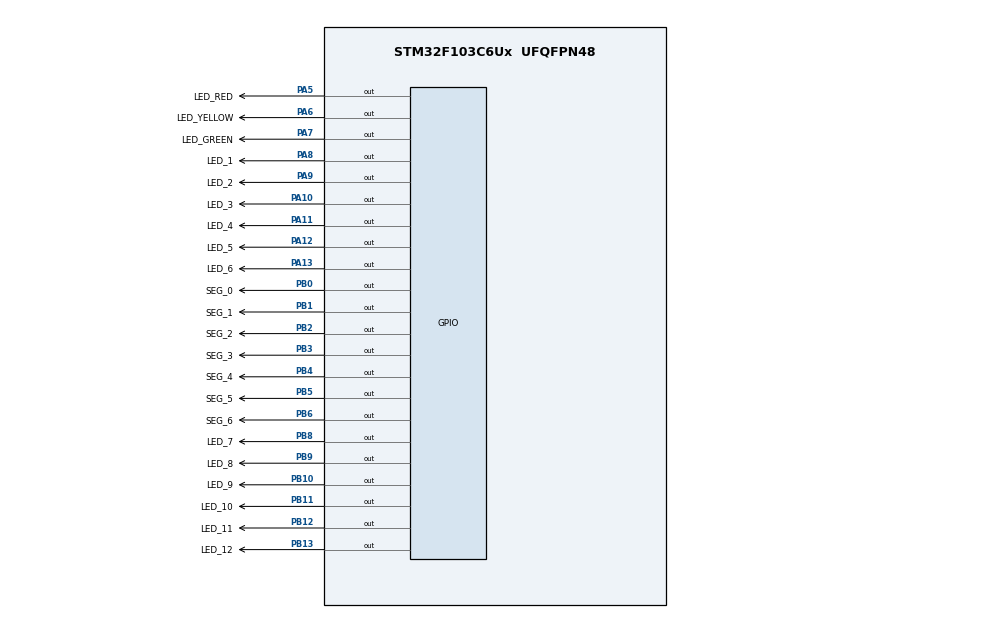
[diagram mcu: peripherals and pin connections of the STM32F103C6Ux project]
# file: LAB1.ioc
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Mcu.Family=STM32F1
Mcu.Name=STM32F103C6Ux
Mcu.Package=UFQFPN48
NVIC.PriorityGroup=NVIC_PRIORITYGROUP_4
PA10.GPIO_Label=LED_3
PA10.Signal=GPIO_Output
PA11.GPIO_Label=LED_4
PA11.Signal=GPIO_Output
PA12.GPIO_Label=LED_5
PA12.Signal=GPIO_Output
PA13.GPIO_Label=LED_6
PA13.Signal=GPIO_Output
PA5.GPIO_Label=LED_RED
PA5.Signal=GPIO_Output
PA6.GPIO_Label=LED_YELLOW
PA6.Signal=GPIO_Output
PA7.GPIO_Label=LED_GREEN
PA7.Signal=GPIO_Output
PA8.GPIO_Label=LED_1
PA8.Signal=GPIO_Output
PA9.GPIO_Label=LED_2
PA9.Signal=GPIO_Output
PB0.GPIO_Label=SEG_0
PB0.Signal=GPIO_Output
PB1.GPIO_Label=SEG_1
PB1.Signal=GPIO_Output
PB10.GPIO_Label=LED_9
PB10.Signal=GPIO_Output
PB11.GPIO_Label=LED_10
PB11.Signal=GPIO_Output
PB12.GPIO_Label=LED_11
PB12.Signal=GPIO_Output
PB13.GPIO_Label=LED_12
PB13.Signal=GPIO_Output
PB2.GPIO_Label=SEG_2
PB2.Signal=GPIO_Output
PB3.GPIO_Label=SEG_3
PB3.Signal=GPIO_Output
PB4.GPIO_Label=SEG_4
PB4.Signal=GPIO_Output
PB5.GPIO_Label=SEG_5
PB5.Signal=GPIO_Output
PB6.GPIO_Label=SEG_6
PB6.Signal=GPIO_Output
PB8.GPIO_Label=LED_7
PB8.Signal=GPIO_Output
PB9.GPIO_Label=LED_8
PB9.Signal=GPIO_Output
ProjectManager.HeapSize=0x200
ProjectManager.StackSize=0x400
ProjectManager.TargetToolchain=STM32CubeIDE
RCC.APB1Freq_Value=8000000
RCC.APB2Freq_Value=8000000
VP_SYS_VS_ND.Mode=No_Debug
board=custom

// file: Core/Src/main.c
/* USER CODE BEGIN Header */
/**
  ******************************************************************************
  * @file           : main.c
  * @brief          : Main program body
  ******************************************************************************
  * @attention
  *
  * <h2><center>&copy; Copyright (c) 2024 STMicroelectronics.
  * All rights reserved.</center></h2>
  *
  * This software component is licensed by ST under BSD 3-Clause license,
  * the "License"; You may not use this file except in compliance with the
  * License. You may obtain a copy of the License at:
  *                        opensource.org/licenses/BSD-3-Clause
  *
  ******************************************************************************
  */
/* USER CODE END Header */
#include "main.h"

void SystemClock_Config(void);
static void MX_GPIO_Init(void);

/* USER CODE BEGIN 0 */
void display7SEG(int num){
	switch (num) {
	case 0:
				HAL_GPIO_WritePin(SEG_0_GPIO_Port, SEG_0_Pin, GPIO_PIN_RESET);
				HAL_GPIO_WritePin(SEG_1_GPIO_Port, SEG_1_Pin, GPIO_PIN_RESET);
				HAL_GPIO_WritePin(SEG_2_GPIO_Port, SEG_2_Pin, GPIO_PIN_RESET);
				HAL_GPIO_WritePin(SEG_3_GPIO_Port, SEG_3_Pin, GPIO_PIN_RESET);
				HAL_GPIO_WritePin(SEG_4_GPIO_Port, SEG_4_Pin, GPIO_PIN_RESET);
				HAL_GPIO_WritePin(SEG_5_GPIO_Port, SEG_5_Pin, GPIO_PIN_RESET);
				HAL_GPIO_WritePin(SEG_6_GPIO_Port, SEG_6_Pin, GPIO_PIN_SET);
				break;
	case 1:
				HAL_GPIO_WritePin(SEG_0_GPIO_Port, SEG_0_Pin, GPIO_PIN_SET);
				HAL_GPIO_WritePin(SEG_1_GPIO_Port, SEG_1_Pin, GPIO_PIN_RESET);
				HAL_GPIO_WritePin(SEG_2_GPIO_Port, SEG_2_Pin, GPIO_PIN_RESET);
				HAL_GPIO_WritePin(SEG_3_GPIO_Port, SEG_3_Pin, GPIO_PIN_SET);
				HAL_GPIO_WritePin(SEG_4_GPIO_Port, SEG_4_Pin, GPIO_PIN_SET);
				HAL_GPIO_WritePin(SEG_5_GPIO_Port, SEG_5_Pin, GPIO_PIN_SET);
				HAL_GPIO_WritePin(SEG_6_GPIO_Port, SEG_6_Pin, GPIO_PIN_SET);
				break;
	case 2:
				HAL_GPIO_WritePin(SEG_0_GPIO_Port, SEG_0_Pin, GPIO_PIN_RESET);
				HAL_GPIO_WritePin(SEG_1_GPIO_Port, SEG_1_Pin, GPIO_PIN_RESET);
				HAL_GPIO_WritePin(SEG_2_GPIO_Port, SEG_2_Pin, GPIO_PIN_SET);
				HAL_GPIO_WritePin(SEG_3_GPIO_Port, SEG_3_Pin, GPIO_PIN_RESET);
				HAL_GPIO_WritePin(SEG_4_GPIO_Port, SEG_4_Pin, GPIO_PIN_RESET);
				HAL_GPIO_WritePin(SEG_5_GPIO_Port, SEG_5_Pin, GPIO_PIN_SET);
				HAL_GPIO_WritePin(SEG_6_GPIO_Port, SEG_6_Pin, GPIO_PIN_RESET);
				break;
	case 3:
				HAL_GPIO_WritePin(SEG_0_GPIO_Port, SEG_0_Pin, GPIO_PIN_RESET);
				HAL_GPIO_WritePin(SEG_1_GPIO_Port, SEG_1_Pin, GPIO_PIN_RESET);
				HAL_GPIO_WritePin(SEG_2_GPIO_Port, SEG_2_Pin, GPIO_PIN_RESET);
				HAL_GPIO_WritePin(SEG_3_GPIO_Port, SEG_3_Pin, GPIO_PIN_RESET);
				HAL_GPIO_WritePin(SEG_4_GPIO_Port, SEG_4_Pin, GPIO_PIN_SET);
				HAL_GPIO_WritePin(SEG_5_GPIO_Port, SEG_5_Pin, GPIO_PIN_SET);
				HAL_GPIO_WritePin(SEG_6_GPIO_Port, SEG_6_Pin, GPIO_PIN_RESET);
				break;
	case 4:
				HAL_GPIO_WritePin(SEG_0_GPIO_Port, SEG_0_Pin, GPIO_PIN_SET);
				HAL_GPIO_WritePin(SEG_1_GPIO_Port, SEG_1_Pin, GPIO_PIN_RESET);
				HAL_GPIO_WritePin(SEG_2_GPIO_Port, SEG_2_Pin, GPIO_PIN_RESET);
				HAL_GPIO_WritePin(SEG_3_GPIO_Port, SEG_3_Pin, GPIO_PIN_SET);
				HAL_GPIO_WritePin(SEG_4_GPIO_Port, SEG_4_Pin, GPIO_PIN_SET);
				HAL_GPIO_WritePin(SEG_5_GPIO_Port, SEG_5_Pin, GPIO_PIN_RESET);
				HAL_GPIO_WritePin(SEG_6_GPIO_Port, SEG_6_Pin, GPIO_PIN_RESET);
				break;
	case 5:
				HAL_GPIO_WritePin(SEG_0_GPIO_Port, SEG_0_Pin, GPIO_PIN_RESET);
				HAL_GPIO_WritePin(SEG_1_GPIO_Port, SEG_1_Pin, GPIO_PIN_SET);
				HAL_GPIO_WritePin(SEG_2_GPIO_Port, SEG_2_Pin, GPIO_PIN_RESET);
				HAL_GPIO_WritePin(SEG_3_GPIO_Port, SEG_3_Pin, GPIO_PIN_RESET);
				HAL_GPIO_WritePin(SEG_4_GPIO_Port, SEG_4_Pin, GPIO_PIN_SET);
				HAL_GPIO_WritePin(SEG_5_GPIO_Port, SEG_5_Pin, GPIO_PIN_RESET);
				HAL_GPIO_WritePin(SEG_6_GPIO_Port, SEG_6_Pin, GPIO_PIN_RESET);
				break;
	case 6:
				HAL_GPIO_WritePin(SEG_0_GPIO_Port, SEG_0_Pin, GPIO_PIN_RESET);
				HAL_GPIO_WritePin(SEG_1_GPIO_Port, SEG_1_Pin, GPIO_PIN_SET);
				HAL_GPIO_WritePin(SEG_2_GPIO_Port, SEG_2_Pin, GPIO_PIN_RESET);
				HAL_GPIO_WritePin(SEG_3_GPIO_Port, SEG_3_Pin, GPIO_PIN_RESET);
				HAL_GPIO_WritePin(SEG_4_GPIO_Port, SEG_4_Pin, GPIO_PIN_RESET);
				HAL_GPIO_WritePin(SEG_5_GPIO_Port, SEG_5_Pin, GPIO_PIN_RESET);
				HAL_GPIO_WritePin(SEG_6_GPIO_Port, SEG_6_Pin, GPIO_PIN_RESET);
				break;
	case 7:
				HAL_GPIO_WritePin(SEG_0_GPIO_Port, SEG_0_Pin, GPIO_PIN_RESET);
				HAL_GPIO_WritePin(SEG_1_GPIO_Port, SEG_1_Pin, GPIO_PIN_RESET);
				HAL_GPIO_WritePin(SEG_2_GPIO_Port, SEG_2_Pin, GPIO_PIN_RESET);
				HAL_GPIO_WritePin(SEG_3_GPIO_Port, SEG_3_Pin, GPIO_PIN_SET);
				HAL_GPIO_WritePin(SEG_4_GPIO_Port, SEG_4_Pin, GPIO_PIN_SET);
				HAL_GPIO_WritePin(SEG_5_GPIO_Port, SEG_5_Pin, GPIO_PIN_SET);
				HAL_GPIO_WritePin(SEG_6_GPIO_Port, SEG_6_Pin, GPIO_PIN_SET);
				break;
	case 8:
				HAL_GPIO_WritePin(SEG_0_GPIO_Port, SEG_0_Pin, GPIO_PIN_RESET);
				HAL_GPIO_WritePin(SEG_1_GPIO_Port, SEG_1_Pin, GPIO_PIN_RESET);
				HAL_GPIO_WritePin(SEG_2_GPIO_Port, SEG_2_Pin, GPIO_PIN_RESET);
				HAL_GPIO_WritePin(SEG_3_GPIO_Port, SEG_3_Pin, GPIO_PIN_RESET);
				HAL_GPIO_WritePin(SEG_4_GPIO_Port, SEG_4_Pin, GPIO_PIN_RESET);
				HAL_GPIO_WritePin(SEG_5_GPIO_Port, SEG_5_Pin, GPIO_PIN_RESET);
				HAL_GPIO_WritePin(SEG_6_GPIO_Port, SEG_6_Pin, GPIO_PIN_RESET);
				break;
	case 9:
				HAL_GPIO_WritePin(SEG_0_GPIO_Port, SEG_0_Pin, GPIO_PIN_RESET);
				HAL_GPIO_WritePin(SEG_1_GPIO_Port, SEG_1_Pin, GPIO_PIN_RESET);
				HAL_GPIO_WritePin(SEG_2_GPIO_Port, SEG_2_Pin, GPIO_PIN_RESET);
				HAL_GPIO_WritePin(SEG_3_GPIO_Port, SEG_3_Pin, GPIO_PIN_RESET);
				HAL_GPIO_WritePin(SEG_4_GPIO_Port, SEG_4_Pin, GPIO_PIN_SET);
				HAL_GPIO_WritePin(SEG_5_GPIO_Port, SEG_5_Pin, GPIO_PIN_RESET);
				HAL_GPIO_WritePin(SEG_6_GPIO_Port, SEG_6_Pin, GPIO_PIN_RESET);
				break;
	default:
				HAL_GPIO_WritePin(SEG_0_GPIO_Port, SEG_0_Pin, GPIO_PIN_SET);
				HAL_GPIO_WritePin(SEG_1_GPIO_Port, SEG_1_Pin, GPIO_PIN_SET);
				HAL_GPIO_WritePin(SEG_2_GPIO_Port, SEG_2_Pin, GPIO_PIN_SET);
				HAL_GPIO_WritePin(SEG_3_GPIO_Port, SEG_3_Pin, GPIO_PIN_SET);
				HAL_GPIO_WritePin(SEG_4_GPIO_Port, SEG_4_Pin, GPIO_PIN_SET);
				HAL_GPIO_WritePin(SEG_5_GPIO_Port, SEG_5_Pin, GPIO_PIN_SET);
				HAL_GPIO_WritePin(SEG_6_GPIO_Port, SEG_6_Pin, GPIO_PIN_SET);
				break;
	}
}
/* USER CODE END 0 */

int main(void)
{
  /* USER CODE BEGIN 1 */

	int red_time = 5;
	int green_time = 3;
	int yellow_time = 2;
	int counter = red_time;
	int cnt = 0;
  /* USER CODE END 1 */

  /* MCU Configuration--------------------------------------------------------*/

  /* Reset of all peripherals, Initializes the Flash interface and the Systick. */
  HAL_Init();

  /* Configure the system clock */
  SystemClock_Config();

  /* Initialize all configured peripherals */
  MX_GPIO_Init();

  /* Infinite loop */
  /* USER CODE BEGIN WHILE */
  while (1)
  {
	  switch(cnt) {
	  	  	  case 0:
	  	  		  // "-"Ways
	  	  		  HAL_GPIO_WritePin(LED_8_GPIO_Port, LED_8_Pin, GPIO_PIN_SET);
	  	  		  HAL_GPIO_WritePin(LED_9_GPIO_Port, LED_9_Pin, GPIO_PIN_SET);
	  	  		  HAL_GPIO_WritePin(LED_10_GPIO_Port, LED_10_Pin, GPIO_PIN_RESET);
	  	  		  HAL_GPIO_WritePin(LED_2_GPIO_Port, LED_2_Pin, GPIO_PIN_SET);
	  			  HAL_GPIO_WritePin(LED_3_GPIO_Port, LED_3_Pin, GPIO_PIN_SET);
	  			  HAL_GPIO_WritePin(LED_4_GPIO_Port, LED_4_Pin, GPIO_PIN_RESET);
	  	  		  // "|"Ways
	  	  		  HAL_GPIO_WritePin(LED_11_GPIO_Port, LED_11_Pin, GPIO_PIN_RESET);
	  	  		  HAL_GPIO_WritePin(LED_12_GPIO_Port, LED_12_Pin, GPIO_PIN_SET);
	  	  		  HAL_GPIO_WritePin(LED_1_GPIO_Port, LED_1_Pin, GPIO_PIN_SET);

	  	  		  HAL_GPIO_WritePin(LED_5_GPIO_Port, LED_5_Pin, GPIO_PIN_RESET);
	  			  HAL_GPIO_WritePin(LED_6_GPIO_Port, LED_6_Pin, GPIO_PIN_SET);
	  			  HAL_GPIO_WritePin(LED_7_GPIO_Port, LED_7_Pin, GPIO_PIN_SET);

	  	  		  break;
	  	  	  case 1:
	  	  		  // "-"Ways
	  	  		  HAL_GPIO_WritePin(LED_8_GPIO_Port, LED_8_Pin, GPIO_PIN_SET);
	  	  		  HAL_GPIO_WritePin(LED_9_GPIO_Port, LED_9_Pin, GPIO_PIN_RESET);
	  	  		  HAL_GPIO_WritePin(LED_10_GPIO_Port, LED_10_Pin, GPIO_PIN_SET);

	  	  		  HAL_GPIO_WritePin(LED_2_GPIO_Port, LED_2_Pin, GPIO_PIN_SET);
	  			  HAL_GPIO_WritePin(LED_3_GPIO_Port, LED_3_Pin, GPIO_PIN_RESET);
	  			  HAL_GPIO_WritePin(LED_4_GPIO_Port, LED_4_Pin, GPIO_PIN_SET);
	  	  		  // "|"Ways
	  	  		  HAL_GPIO_WritePin(LED_11_GPIO_Port, LED_11_Pin, GPIO_PIN_RESET);
	  	  		  HAL_GPIO_WritePin(LED_12_GPIO_Port, LED_12_Pin, GPIO_PIN_SET);
	  	  		  HAL_GPIO_WritePin(LED_1_GPIO_Port, LED_1_Pin, GPIO_PIN_SET);

	  	  		  HAL_GPIO_WritePin(LED_5_GPIO_Port, LED_5_Pin, GPIO_PIN_RESET);
	  			  HAL_GPIO_WritePin(LED_6_GPIO_Port, LED_6_Pin, GPIO_PIN_SET);
	  			  HAL_GPIO_WritePin(LED_7_GPIO_Port, LED_7_Pin, GPIO_PIN_SET);

	  	  		  break;
	  	  	  case 2:
	  	  		  // "-"Ways
	  	  		  HAL_GPIO_WritePin(LED_8_GPIO_Port, LED_8_Pin, GPIO_PIN_RESET);
	  	  		  HAL_GPIO_WritePin(LED_9_GPIO_Port, LED_9_Pin, GPIO_PIN_SET);
	  	  		  HAL_GPIO_WritePin(LED_10_GPIO_Port, LED_10_Pin, GPIO_PIN_SET);

	  	  		  HAL_GPIO_WritePin(LED_2_GPIO_Port, LED_2_Pin, GPIO_PIN_RESET);
	  			  HAL_GPIO_WritePin(LED_3_GPIO_Port, LED_3_Pin, GPIO_PIN_SET);
	  			  HAL_GPIO_WritePin(LED_4_GPIO_Port, LED_4_Pin, GPIO_PIN_SET);
	  	  		  // "|"Ways
	  	  		  HAL_GPIO_WritePin(LED_11_GPIO_Port, LED_11_Pin, GPIO_PIN_SET);
	  	  		  HAL_GPIO_WritePin(LED_12_GPIO_Port, LED_12_Pin, GPIO_PIN_SET);
	  	  		  HAL_GPIO_WritePin(LED_1_GPIO_Port, LED_1_Pin, GPIO_PIN_RESET);

	  	  		  HAL_GPIO_WritePin(LED_5_GPIO_Port, LED_5_Pin, GPIO_PIN_SET);
	  			  HAL_GPIO_WritePin(LED_6_GPIO_Port, LED_6_Pin, GPIO_PIN_SET);
	  			  HAL_GPIO_WritePin(LED_7_GPIO_Port, LED_7_Pin, GPIO_PIN_RESET);

	  	  		  break;
	  	  	  case 3:
	  	  		  // "-"Ways
	  	  		  HAL_GPIO_WritePin(LED_8_GPIO_Port, LED_8_Pin, GPIO_PIN_RESET);
	  	  		  HAL_GPIO_WritePin(LED_9_GPIO_Port, LED_9_Pin, GPIO_PIN_SET);
	  	  		  HAL_GPIO_WritePin(LED_10_GPIO_Port, LED_10_Pin, GPIO_PIN_SET);

	  	  		  HAL_GPIO_WritePin(LED_2_GPIO_Port, LED_2_Pin, GPIO_PIN_RESET);
	  			  HAL_GPIO_WritePin(LED_3_GPIO_Port, LED_3_Pin, GPIO_PIN_SET);
	  			  HAL_GPIO_WritePin(LED_4_GPIO_Port, LED_4_Pin, GPIO_PIN_SET);

	  	  		  // "|"Ways
	  	  		  HAL_GPIO_WritePin(LED_11_GPIO_Port, LED_11_Pin, GPIO_PIN_SET);
	  	  		  HAL_GPIO_WritePin(LED_12_GPIO_Port, LED_12_Pin, GPIO_PIN_RESET);
	  	  		  HAL_GPIO_WritePin(LED_1_GPIO_Port, LED_1_Pin, GPIO_PIN_SET);

	  	  		  HAL_GPIO_WritePin(LED_5_GPIO_Port, LED_5_Pin, GPIO_PIN_SET);
	  			  HAL_GPIO_WritePin(LED_6_GPIO_Port, LED_6_Pin, GPIO_PIN_RESET);
	  			  HAL_GPIO_WritePin(LED_7_GPIO_Port, LED_7_Pin, GPIO_PIN_SET);

	  	  		  break;
	  	  	  default:
	  	  		  cnt = 0;
	  	  		  counter = red_time;
	  	  	  }
	  if (cnt == 0 && counter >= green_time) {
		  counter = green_time;
	  }
	  else if (cnt == 1 && counter >= yellow_time) {
		  counter = yellow_time;
	  }
	  else if (cnt == 2) {
		  if (counter - 1 <= yellow_time) cnt++;
	  }
	  display7SEG(counter--);

	  if (counter == 0) {
		  cnt++;
		  counter = red_time;
	  }
	  if (cnt > 3) {
		  cnt = 0;
	  }

	  HAL_Delay(1000);
    /* USER CODE END WHILE */

  }
}

void SystemClock_Config(void)
{
  RCC_OscInitTypeDef RCC_OscInitStruct = {0};
  RCC_ClkInitTypeDef RCC_ClkInitStruct = {0};

  /** Initializes the RCC Oscillators according to the specified parameters
  * in the RCC_OscInitTypeDef structure.
  */
  RCC_OscInitStruct.OscillatorType = RCC_OSCILLATORTYPE_HSI;
  RCC_OscInitStruct.HSIState = RCC_HSI_ON;
  RCC_OscInitStruct.HSICalibrationValue = RCC_HSICALIBRATION_DEFAULT;
  RCC_OscInitStruct.PLL.PLLState = RCC_PLL_NONE;
  if (HAL_RCC_OscConfig(&RCC_OscInitStruct) != HAL_OK)
  {
    Error_Handler();
  }
  /** Initializes the CPU, AHB and APB buses clocks
  */
  RCC_ClkInitStruct.ClockType = RCC_CLOCKTYPE_HCLK|RCC_CLOCKTYPE_SYSCLK
                              |RCC_CLOCKTYPE_PCLK1|RCC_CLOCKTYPE_PCLK2;
  RCC_ClkInitStruct.SYSCLKSource = RCC_SYSCLKSOURCE_HSI;
  RCC_ClkInitStruct.AHBCLKDivider = RCC_SYSCLK_DIV1;
  RCC_ClkInitStruct.APB1CLKDivider = RCC_HCLK_DIV1;
  RCC_ClkInitStruct.APB2CLKDivider = RCC_HCLK_DIV1;

  if (HAL_RCC_ClockConfig(&RCC_ClkInitStruct, FLASH_LATENCY_0) != HAL_OK)
  {
    Error_Handler();
  }
}

static void MX_GPIO_Init(void)
{
  GPIO_InitTypeDef GPIO_InitStruct = {0};

  /* GPIO Ports Clock Enable */
  __HAL_RCC_GPIOA_CLK_ENABLE();
  __HAL_RCC_GPIOB_CLK_ENABLE();

  /*Configure GPIO pin Output Level */
  HAL_GPIO_WritePin(GPIOA, LED_RED_Pin|LED_YELLOW_Pin|LED_GREEN_Pin|LED_1_Pin
                          |LED_2_Pin|LED_3_Pin|LED_4_Pin|LED_5_Pin
                          |LED_6_Pin, GPIO_PIN_RESET);

  /*Configure GPIO pin Output Level */
  HAL_GPIO_WritePin(GPIOB, SEG_0_Pin|SEG_1_Pin|SEG_2_Pin|LED_9_Pin
                          |LED_10_Pin|LED_11_Pin|LED_12_Pin|SEG_3_Pin
                          |SEG_4_Pin|SEG_5_Pin|SEG_6_Pin|LED_7_Pin
                          |LED_8_Pin, GPIO_PIN_RESET);

  /*Configure GPIO pins : LED_RED_Pin LED_YELLOW_Pin LED_GREEN_Pin LED_1_Pin
                           LED_2_Pin LED_3_Pin LED_4_Pin LED_5_Pin
                           LED_6_Pin */
  GPIO_InitStruct.Pin = LED_RED_Pin|LED_YELLOW_Pin|LED_GREEN_Pin|LED_1_Pin
                          |LED_2_Pin|LED_3_Pin|LED_4_Pin|LED_5_Pin
                          |LED_6_Pin;
  GPIO_InitStruct.Mode = GPIO_MODE_OUTPUT_PP;
  GPIO_InitStruct.Pull = GPIO_NOPULL;
  GPIO_InitStruct.Speed = GPIO_SPEED_FREQ_LOW;
  HAL_GPIO_Init(GPIOA, &GPIO_InitStruct);

  /*Configure GPIO pins : SEG_0_Pin SEG_1_Pin SEG_2_Pin LED_9_Pin
                           LED_10_Pin LED_11_Pin LED_12_Pin SEG_3_Pin
                           SEG_4_Pin SEG_5_Pin SEG_6_Pin LED_7_Pin
                           LED_8_Pin */
  GPIO_InitStruct.Pin = SEG_0_Pin|SEG_1_Pin|SEG_2_Pin|LED_9_Pin
                          |LED_10_Pin|LED_11_Pin|LED_12_Pin|SEG_3_Pin
                          |SEG_4_Pin|SEG_5_Pin|SEG_6_Pin|LED_7_Pin
                          |LED_8_Pin;
  GPIO_InitStruct.Mode = GPIO_MODE_OUTPUT_PP;
  GPIO_InitStruct.Pull = GPIO_NOPULL;
  GPIO_InitStruct.Speed = GPIO_SPEED_FREQ_LOW;
  HAL_GPIO_Init(GPIOB, &GPIO_InitStruct);

}

void Error_Handler(void)
{
  __disable_irq();
  while (1)
  {
  }
}

/************************ (C) COPYRIGHT STMicroelectronics *****END OF FILE****/
